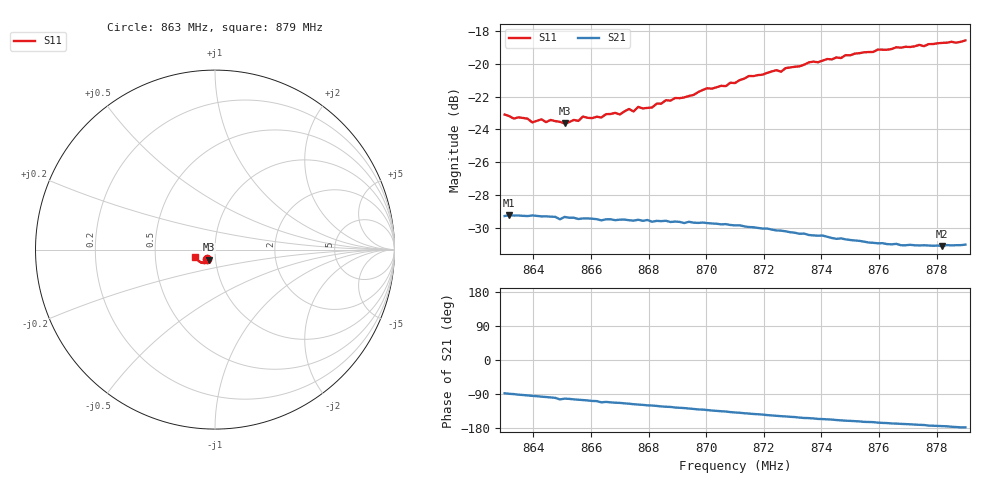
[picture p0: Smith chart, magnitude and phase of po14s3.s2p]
# HZ S RI R 50
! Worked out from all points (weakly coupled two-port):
!   101 points, 863 MHz to 879 MHz, reference 50 ohm
!   highest |S21| = -29.24 dB at 863.16 MHz (marker M1); lowest = -31.1 dB at 878.2 MHz (marker M2)
!   lowest |S11| = -23.6 dB at 865.08 MHz (marker M3), VSWR 1.14, Z = 46.4 - j5.21 ohm
!   |S11| at or under -10 dB: start of sweep to end of sweep
!   S12 and S22 are empty: the file has one direction only
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8.63e8  -0.0435 -0.0549  0.00133 -0.0343  0 0  0 0
8.6316e8  -0.0431 -0.0542  0.000456 -0.0345  0 0  0 0
8.6396e8  -0.0388 -0.0537  -0.00281 -0.0343  0 0  0 0
8.6428e8  -0.0376 -0.0563  -0.00407 -0.034  0 0  0 0
8.6492e8  -0.0369 -0.0554  -0.00812 -0.0325  0 0  0 0
8.6508e8  -0.0346 -0.056  -0.00707 -0.0334  0 0  0 0
8.6556e8  -0.0357 -0.0567  -0.00855 -0.0325  0 0  0 0
8.6572e8  -0.0357 -0.0591  -0.00915 -0.0325  0 0  0 0
8.67e8  -0.0348 -0.0608  -0.0132 -0.0308  0 0  0 0
8.6732e8  -0.036 -0.0633  -0.0143 -0.0301  0 0  0 0
8.6748e8  -0.0343 -0.0628  -0.0149 -0.0297  0 0  0 0
8.6764e8  -0.036 -0.0646  -0.0155 -0.0296  0 0  0 0
8.6812e8  -0.0356 -0.0643  -0.0165 -0.0285  0 0  0 0
8.6844e8  -0.0373 -0.0657  -0.0178 -0.0279  0 0  0 0
8.7004e8  -0.0433 -0.0723  -0.0219 -0.0242  0 0  0 0
8.71e8  -0.0479 -0.0731  -0.024 -0.0213  0 0  0 0
8.7148e8  -0.0522 -0.0755  -0.0248 -0.0198  0 0  0 0
8.726e8  -0.0589 -0.074  -0.0263 -0.0163  0 0  0 0
8.7372e8  -0.069 -0.0746  -0.027 -0.013  0 0  0 0
8.7644e8  -0.0922 -0.0618  -0.0275 -0.00608  0 0  0 0
8.782e8  -0.1061 -0.0465  -0.0276 -0.00266  0 0  0 0
8.79e8  -0.1112 -0.0391  -0.0281 -0.00106  0 0  0 0
